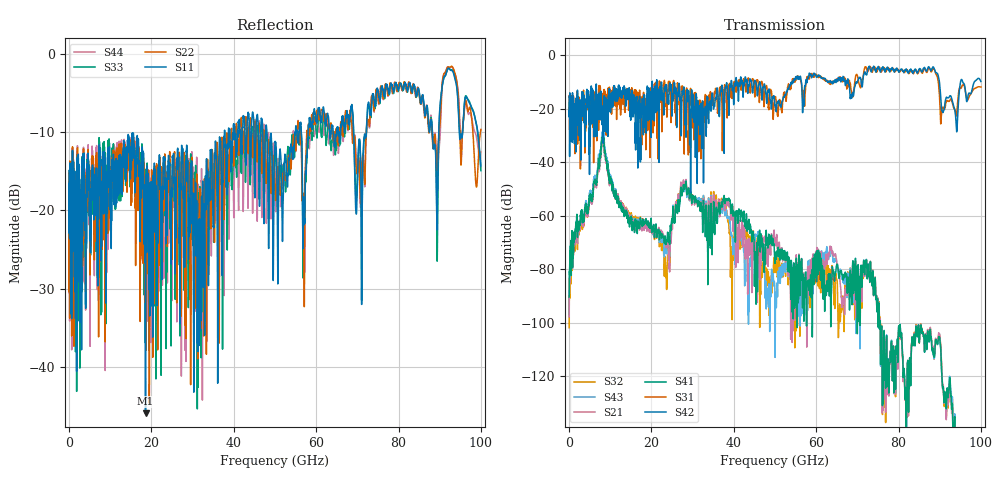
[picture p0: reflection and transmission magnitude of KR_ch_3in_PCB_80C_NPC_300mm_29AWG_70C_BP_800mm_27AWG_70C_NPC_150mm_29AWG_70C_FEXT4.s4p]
# Hz S RI R 45
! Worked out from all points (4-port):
!   4000 points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, 25 MHz to 100 GHz, reference 45 ohm
!   strongest paths, dB at 25 MHz, 25.02 GHz, 50.02 GHz, 75.03 GHz, 100 GHz:
!     S42: -20.7, -20.7, -18.8, -4.2, -9.7
!     S31: -20.6, -14.0, -16.0, -5.1, -11.8
!     S41: -90.5, -61.8, -77.0, -99.7, -178.7
!     S21: -97.9, -64.2, -69.4, -99.0, -175.2
!     S43: -97.2, -61.9, -96.1, -99.6, -177.5
!     S32: -101.9, -62.0, -79.4, -98.8, -174.6
!   lowest |S11| = -45.9 dB at 18.57 GHz (marker M1), VSWR 1.01, Z = 45.4 + j0.0957 ohm
!   |S11| at or under -10 dB: start of sweep to 37.74 GHz; 48.05 GHz to 54.87 GHz (6.818 GHz wide, 13.2 % of centre); 69.09 GHz to 72.19 GHz (3.1 GHz wide, 4.39 % of centre) (the widest 3 of 29)
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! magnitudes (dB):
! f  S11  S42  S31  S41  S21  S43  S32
! 25 MHz  -16.6  -20.7  -20.6  -90.5  -97.9  -97.2  -101.9
! 8.15 GHz  -19.2  -21.4  -18.8  -30.5  -32.3  -28.5  -30.1
! 18.57 GHz  -45.9  -20.1  -21.0  -61.7  -63.8  -62.1  -62.4
! 23.5 GHz  -18.2  -12.4  -14.0  -70.0  -71.5  -72.9  -80.5
! 28 GHz  -25.4  -13.4  -25.0  -49.5  -48.4  -50.4  -49.4
! 45.95 GHz  -9.3  -11.7  -10.5  -67.4  -80.3  -66.1  -73.5
! 100 GHz  -14.3  -9.7  -11.8  -178.7  -175.2  -177.5  -174.6
